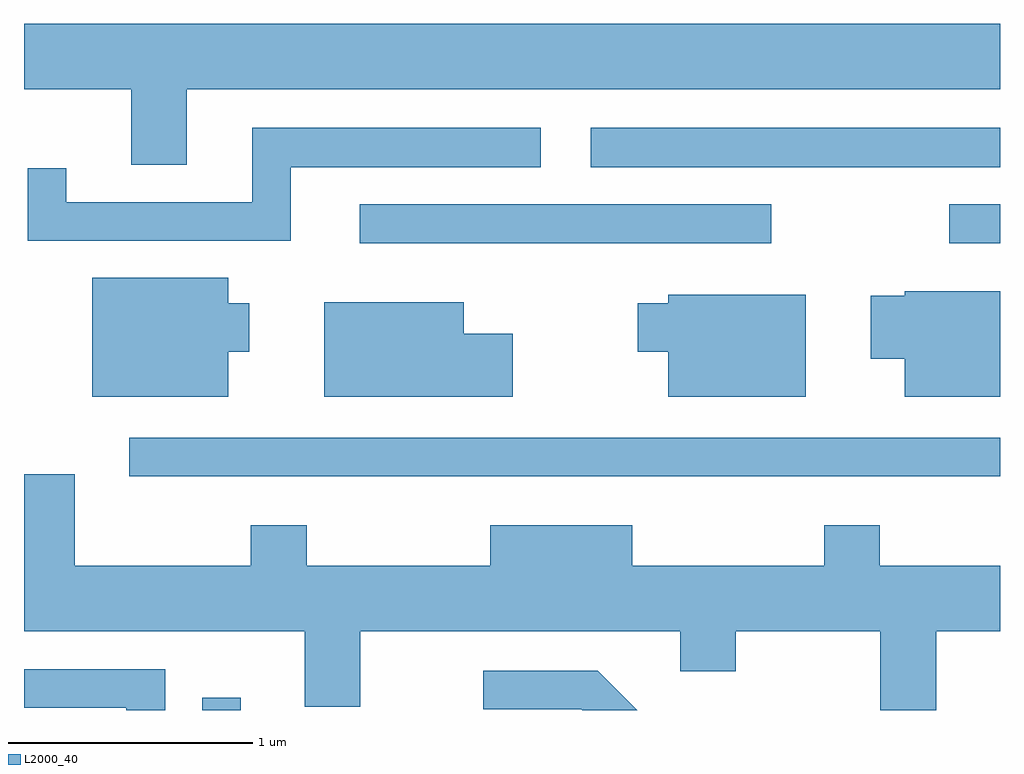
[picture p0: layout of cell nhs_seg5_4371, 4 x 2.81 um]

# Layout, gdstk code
import gdstk
lib = gdstk.Library(unit=1e-6, precision=1e-09)
def R(c, l, rs):  # rectangles x0, y0, x1, y1
    for r in rs: c.add(gdstk.rectangle(r[:2], r[2:], *l))
def P(c, l, *ps):  # polygons
    for p in ps: c.add(gdstk.Polygon(p, *l))
L2000_40 = (2000, 40)

nhs_seg5_4371 = lib.new_cell('nhs_seg5_4371')
R(nhs_seg5_4371, L2000_40, [(316.341,1412.072,316.499,1412.123), (316.043,1413.031,319.611,1413.189), (316.988,1413.986,318.673,1414.144), (319.403,1413.986,319.611,1414.144), (317.933,1414.296,319.611,1414.459)])
P(nhs_seg5_4371, L2000_40, [(316.279,1414.616),(319.611,1414.616),(319.611,1414.884),(315.611,1414.884),(315.611,1414.616),(316.051,1414.616),(316.051,1414.306),(316.279,1414.306)],
  [(316.704,1414.296),(317.728,1414.296),(317.728,1414.459),(316.546,1414.459),(316.546,1414.154),(315.784,1414.154),(315.784,1414.293),(315.626,1414.293),(315.626,1413.996),(316.704,1413.996)],
  [(316.449,1413.541),(316.534,1413.541),(316.534,1413.739),(316.449,1413.739),(316.449,1413.844),(315.891,1413.844),(315.891,1413.356),(316.449,1413.356)],
  [(319.611,1413.789),(319.221,1413.789),(319.221,1413.769),(319.081,1413.769),(319.081,1413.511),(319.221,1413.511),(319.221,1413.356),(319.611,1413.356)],
  [(318.814,1413.774),(318.251,1413.774),(318.251,1413.739),(318.126,1413.739),(318.126,1413.541),(318.251,1413.541),(318.251,1413.356),(318.814,1413.356)],
  [(317.614,1413.614),(317.414,1413.614),(317.414,1413.744),(316.841,1413.744),(316.841,1413.356),(317.614,1413.356)],
  [(318.104,1412.829),(317.521,1412.829),(317.521,1412.664),(316.769,1412.664),(316.769,1412.829),(316.541,1412.829),(316.541,1412.664),(315.819,1412.664),(315.819,1413.039),(315.611,1413.039),(315.611,1412.396),(316.761,1412.396),(316.761,1412.086),(316.989,1412.086),(316.989,1412.396),(318.301,1412.396),(318.301,1412.231),(318.529,1412.231),(318.529,1412.396),(319.121,1412.396),(319.121,1412.072),(319.349,1412.072),(319.349,1412.396),(319.611,1412.396),(319.611,1412.664),(319.119,1412.664),(319.119,1412.829),(318.891,1412.829),(318.891,1412.664),(318.104,1412.664)],
  [(316.189,1412.239),(315.611,1412.239),(315.611,1412.081),(316.031,1412.081),(316.031,1412.072),(316.189,1412.072)],
  [(317.962,1412.234),(317.493,1412.234),(317.493,1412.076),(317.894,1412.076),(317.898,1412.072),(318.124,1412.072)])

lib.write_gds('nhs_seg5_4371.gds')
